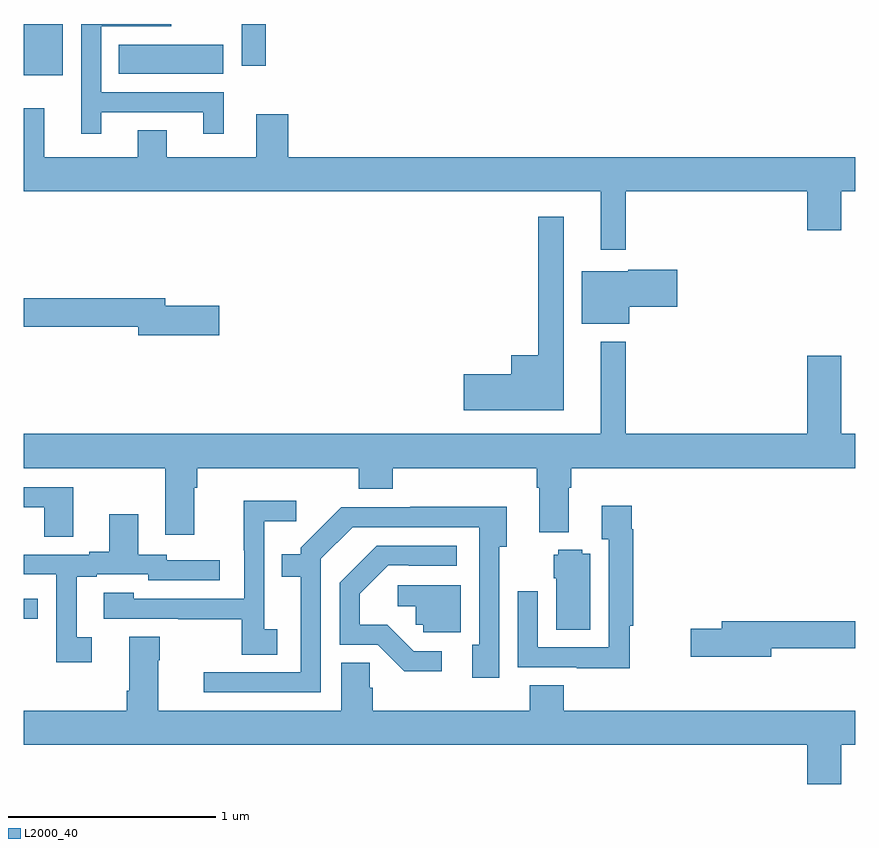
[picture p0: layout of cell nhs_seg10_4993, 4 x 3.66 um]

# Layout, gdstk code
import gdstk
lib = gdstk.Library(unit=1e-6, precision=1e-09)
def R(c, l, rs):  # rectangles x0, y0, x1, y1
    for r in rs: c.add(gdstk.rectangle(r[:2], r[2:], *l))
def P(c, l, *ps):  # polygons
    for p in ps: c.add(gdstk.Polygon(p, *l))
L2000_40 = (2000, 40)

nhs_seg10_4993 = lib.new_cell('nhs_seg10_4993')
R(nhs_seg10_4993, L2000_40, [(401,1251.639,401.068,1251.734), (401,1254.254,401.187,1254.5), (401.458,1254.26,401.959,1254.4), (402.048,1254.3,402.164,1254.5)])
P(nhs_seg10_4993, L2000_40, [(401.374,1254.075),(401.864,1254.075),(401.864,1253.973),(401.962,1253.973),(401.962,1254.171),(401.373,1254.171),(401.373,1254.488),(401.71,1254.488),(401.71,1254.5),(401.277,1254.5),(401.277,1253.973),(401.374,1253.973)],
  [(403.897,1253.696),(404.768,1253.696),(404.768,1253.508),(404.932,1253.508),(404.932,1253.696),(405,1253.696),(405,1253.86),(402.272,1253.86),(402.272,1254.067),(402.119,1254.067),(402.119,1253.86),(401.689,1253.86),(401.689,1253.99),(401.549,1253.99),(401.549,1253.86),(401.099,1253.86),(401.099,1254.094),(401,1254.094),(401,1253.696),(403.775,1253.696),(403.775,1253.415),(403.897,1253.415)],
  [(403.597,1253.572),(403.476,1253.572),(403.476,1252.906),(403.346,1252.906),(403.346,1252.814),(403.116,1252.814),(403.116,1252.643),(403.597,1252.643)],
  [(403.912,1253.141),(404.143,1253.141),(404.143,1253.319),(403.908,1253.319),(403.908,1253.311),(403.685,1253.311),(403.685,1253.057),(403.912,1253.057)],
  [(401.941,1253.144),(401.68,1253.144),(401.68,1253.18),(401,1253.18),(401,1253.044),(401.552,1253.044),(401.552,1253.002),(401.941,1253.002)],
  [(401.821,1252.268),(401.834,1252.268),(401.834,1252.364),(402.611,1252.364),(402.611,1252.265),(402.776,1252.265),(402.776,1252.364),(403.469,1252.364),(403.469,1252.268),(403.481,1252.268),(403.481,1252.055),(403.621,1252.055),(403.621,1252.268),(403.634,1252.268),(403.634,1252.364),(405,1252.364),(405,1252.528),(404.932,1252.528),(404.932,1252.903),(404.768,1252.903),(404.768,1252.528),(403.897,1252.528),(403.897,1252.972),(403.775,1252.972),(403.775,1252.528),(401,1252.528),(401,1252.364),(401.681,1252.364),(401.681,1252.044),(401.821,1252.044)],
  [(401.239,1252.272),(401,1252.272),(401,1252.176),(401.099,1252.176),(401.099,1252.033),(401.239,1252.033)],
  [(402.22,1251.588),(402.156,1251.588),(402.156,1252.109),(402.31,1252.109),(402.31,1252.207),(402.058,1252.207),(402.058,1251.968),(402.06,1251.968),(402.06,1251.735),(401.529,1251.735),(401.529,1251.763),(401.385,1251.763),(401.385,1251.639),(401.743,1251.639),(401.743,1251.637),(402.048,1251.637),(402.048,1251.466),(402.22,1251.466)],
  [(403.916,1251.605),(403.931,1251.605),(403.931,1252.07),(403.924,1252.07),(403.924,1252.183),(403.781,1252.183),(403.781,1252.022),(403.815,1252.022),(403.815,1251.501),(403.473,1251.501),(403.473,1251.772),(403.377,1251.772),(403.377,1251.405),(403.661,1251.405),(403.661,1251.401),(403.916,1251.401)],
  [(402.429,1251.927),(402.582,1252.08),(403.191,1252.08),(403.191,1251.514),(403.157,1251.514),(403.157,1251.354),(403.287,1251.354),(403.287,1251.986),(403.324,1251.986),(403.324,1252.178),(402.859,1252.178),(402.859,1252.176),(402.528,1252.176),(402.333,1251.981),(402.333,1251.949),(402.241,1251.949),(402.241,1251.84),(402.332,1251.84),(402.332,1251.381),(401.865,1251.381),(401.865,1251.285),(402.429,1251.285)],
  [(401.326,1251.549),(401.254,1251.549),(401.254,1251.84),(401.35,1251.84),(401.35,1251.852),(401.598,1251.852),(401.598,1251.825),(401.944,1251.825),(401.944,1251.921),(401.688,1251.921),(401.688,1251.948),(401.551,1251.948),(401.551,1252.141),(401.411,1252.141),(401.411,1251.961),(401.315,1251.961),(401.315,1251.948),(401,1251.948),(401,1251.852),(401.157,1251.852),(401.157,1251.429),(401.326,1251.429)],
  [(403.012,1251.483),(402.876,1251.483),(402.749,1251.61),(402.616,1251.61),(402.616,1251.76),(402.753,1251.897),(402.853,1251.897),(402.853,1251.894),(403.084,1251.894),(403.084,1251.99),(402.698,1251.99),(402.519,1251.811),(402.519,1251.513),(402.702,1251.513),(402.83,1251.386),(403.012,1251.386)],
  [(403.726,1251.952),(403.686,1251.952),(403.686,1251.97),(403.572,1251.97),(403.572,1251.948),(403.55,1251.948),(403.55,1251.834),(403.562,1251.834),(403.562,1251.586),(403.726,1251.586)],
  [(403.102,1251.801),(402.798,1251.801),(402.798,1251.698),(402.885,1251.698),(402.885,1251.609),(402.921,1251.609),(402.921,1251.573),(403.102,1251.573)],
  [(404.596,1251.498),(405,1251.498),(405,1251.626),(404.357,1251.626),(404.357,1251.59),(404.208,1251.59),(404.208,1251.455),(404.596,1251.455)],
  [(404.932,1251.032),(405,1251.032),(405,1251.196),(403.598,1251.196),(403.598,1251.32),(403.433,1251.32),(403.433,1251.196),(402.68,1251.196),(402.68,1251.306),(402.665,1251.306),(402.665,1251.428),(402.527,1251.428),(402.527,1251.196),(401.647,1251.196),(401.647,1251.44),(401.655,1251.44),(401.655,1251.553),(401.507,1251.553),(401.507,1251.292),(401.495,1251.292),(401.495,1251.196),(401,1251.196),(401,1251.032),(404.768,1251.032),(404.768,1250.844),(404.932,1250.844)])

lib.write_gds('nhs_seg10_4993.gds')
